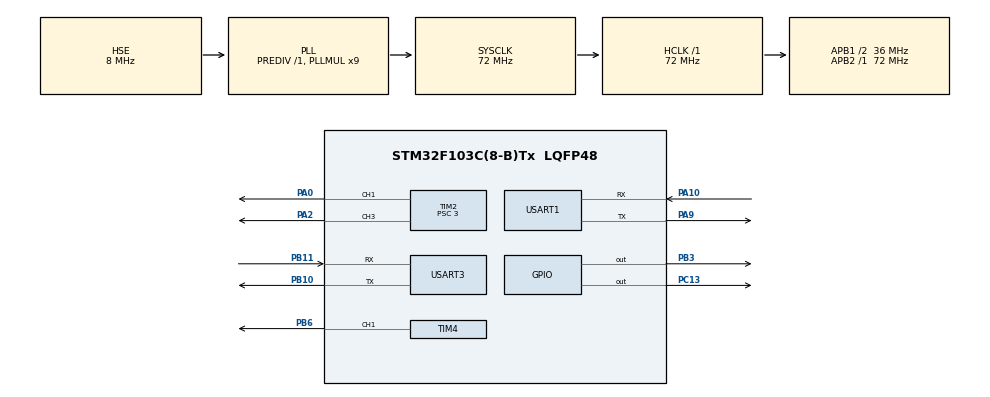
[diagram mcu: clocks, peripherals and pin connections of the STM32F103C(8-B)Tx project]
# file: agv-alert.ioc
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Dma.Request0=TIM4_CH1
Dma.TIM4_CH1.0.Direction=DMA_MEMORY_TO_PERIPH
Dma.TIM4_CH1.0.Instance=DMA1_Channel1
Dma.TIM4_CH1.0.MemDataAlignment=DMA_MDATAALIGN_HALFWORD
Dma.TIM4_CH1.0.MemInc=DMA_MINC_ENABLE
Dma.TIM4_CH1.0.Mode=DMA_NORMAL
Dma.TIM4_CH1.0.PeriphDataAlignment=DMA_PDATAALIGN_HALFWORD
Dma.TIM4_CH1.0.PeriphInc=DMA_PINC_DISABLE
Dma.TIM4_CH1.0.Priority=DMA_PRIORITY_LOW
Mcu.Family=STM32F1
Mcu.Name=STM32F103C(8-B)Tx
Mcu.Package=LQFP48
NVIC.DMA1_Channel1_IRQn=true\:0\:0\:false\:false\:true\:false\:true
NVIC.PriorityGroup=NVIC_PRIORITYGROUP_4
NVIC.USART1_IRQn=true\:0\:0\:false\:false\:true\:true\:true
PA0-WKUP.Signal=S_TIM2_CH1_ETR
PA10.Mode=Asynchronous
PA10.Signal=USART1_RX
PA13.Mode=Serial_Wire
PA13.Signal=SYS_JTMS-SWDIO
PA14.Mode=Serial_Wire
PA14.Signal=SYS_JTCK-SWCLK
PA2.Signal=S_TIM2_CH3
PA9.Mode=Asynchronous
PA9.Signal=USART1_TX
PB10.Mode=Asynchronous
PB10.Signal=USART3_TX
PB11.Mode=Asynchronous
PB11.Signal=USART3_RX
PB3.Signal=GPIO_Output
PB6.Signal=S_TIM4_CH1
PC13-TAMPER-RTC.Signal=GPIO_Output
PD0-OSC_IN.Mode=HSE-External-Oscillator
PD0-OSC_IN.Signal=RCC_OSC_IN
PD1-OSC_OUT.Mode=HSE-External-Oscillator
PD1-OSC_OUT.Signal=RCC_OSC_OUT
ProjectManager.HeapSize=0x200
ProjectManager.StackSize=0x400
ProjectManager.TargetToolchain=STM32CubeIDE
RCC.ADCPresc=RCC_ADCPCLK2_DIV6
RCC.AHBFreq_Value=72000000
RCC.APB1CLKDivider=RCC_HCLK_DIV2
RCC.APB1Freq_Value=36000000
RCC.APB1TimFreq_Value=72000000
RCC.APB2Freq_Value=72000000
RCC.APB2TimFreq_Value=72000000
RCC.HCLKFreq_Value=72000000
RCC.PLLMUL=RCC_PLL_MUL9
RCC.PLLSourceVirtual=RCC_PLLSOURCE_HSE
RCC.SYSCLKFreq_VALUE=72000000
RCC.SYSCLKSource=RCC_SYSCLKSOURCE_PLLCLK
RCC.USBFreq_Value=72000000
SH.S_TIM2_CH1_ETR.0=TIM2_CH1,PWM Generation1 CH1
SH.S_TIM2_CH3.0=TIM2_CH3,PWM Generation3 CH3
SH.S_TIM4_CH1.0=TIM4_CH1,PWM Generation1 CH1
TIM2.Channel-PWM\ Generation1\ CH1=TIM_CHANNEL_1
TIM2.Channel-PWM\ Generation3\ CH3=TIM_CHANNEL_3
TIM2.Period=900
TIM2.Prescaler=3
TIM4.Channel-PWM\ Generation1\ CH1=TIM_CHANNEL_1
TIM4.Period=72-1
USART1.VirtualMode=VM_ASYNC
USART3.VirtualMode=VM_ASYNC
VP_TIM2_VS_ClockSourceINT.Mode=Internal
VP_TIM4_VS_ClockSourceINT.Mode=Internal
board=custom

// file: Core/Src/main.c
/* USER CODE BEGIN Header */
/**
  ******************************************************************************
  * @file           : main.c
  * @brief          : Main program body
  ******************************************************************************
  * @attention
  *
  * Copyright (c) 2023 STMicroelectronics.
  * All rights reserved.
  *
  * This software is licensed under terms that can be found in the LICENSE file
  * in the root directory of this software component.
  * If no LICENSE file comes with this software, it is provided AS-IS.
  *
  ******************************************************************************
  */
/* USER CODE END Header */
#include "main.h"

/* USER CODE BEGIN Includes */
#include "ekran.h"
#include "math.h"
/* USER CODE END Includes */

TIM_HandleTypeDef htim2;
TIM_HandleTypeDef htim4;
DMA_HandleTypeDef hdma_tim4_ch1;

UART_HandleTypeDef huart1;
UART_HandleTypeDef huart3;

/* USER CODE BEGIN PV */
uint32_t adc0,adc1,adc2;

struct temperature{
	int8_t t1,t2,t3;
};

struct temperature temp;
struct agvStat{
	int16_t lift

};
uint8_t rxData[8] = { 0 };

/* USER CODE END PV */

void SystemClock_Config(void);
static void MX_GPIO_Init(void);
static void MX_USART1_UART_Init(void);
static void MX_DMA_Init(void);
static void MX_TIM4_Init(void);
static void MX_USART3_UART_Init(void);
static void MX_TIM2_Init(void);

/* USER CODE BEGIN 0 */
/*
uint32_t Termistor_oku(struct temperature *temp){

	  sconfigPrivate.Channel = ADC_CHANNEL_0;
	  sconfigPrivate.Rank = ADC_REGULAR_RANK_1;
	  sconfigPrivate.SamplingTime = ADC_SAMPLETIME_1CYCLE_5;
	  HAL_ADC_ConfigChannel(&hadc1, &sconfigPrivate);
	HAL_ADC_Start(&hadc1);
	HAL_ADC_PollForConversion(&hadc1, 10);
	adc0= HAL_ADC_GetValue(&hadc1);
	HAL_ADC_Stop(&hadc1);

	  sconfigPrivate.Channel = ADC_CHANNEL_1;
	  sconfigPrivate.Rank = ADC_REGULAR_RANK_1;
	  sconfigPrivate.SamplingTime = ADC_SAMPLETIME_1CYCLE_5;
	  HAL_ADC_ConfigChannel(&hadc1, &sconfigPrivate);
	HAL_ADC_Start(&hadc1);
	HAL_ADC_PollForConversion(&hadc1, 10);
	adc1= HAL_ADC_GetValue(&hadc1);
	HAL_ADC_Stop(&hadc1);

	  sconfigPrivate.Channel = ADC_CHANNEL_2;
	  sconfigPrivate.Rank = ADC_REGULAR_RANK_1;
	  sconfigPrivate.SamplingTime = ADC_SAMPLETIME_1CYCLE_5;
	  HAL_ADC_ConfigChannel(&hadc1, &sconfigPrivate);
	HAL_ADC_Start(&hadc1);
	HAL_ADC_PollForConversion(&hadc1, 10);
	adc2= HAL_ADC_GetValue(&hadc1);
	HAL_ADC_Stop(&hadc1);

	temp->t1 = (int16_t)(((((float)adc0 * 3.300)/4096.00) / 0.00385) -50) ;
	temp->t2 = (int16_t)(((((float)adc1 * 3.300)/4096.00) / 0.00385) -50) ;
	temp->t3 = (int16_t)(((((float)adc2 * 3.300)/4096.00) / 0.00385) -50) ;

}
*/
#define MAX_LED 120
#define USE_BRIGHTNESS 1

uint8_t LED_Data[MAX_LED][4];
uint8_t LED_Mod[MAX_LED][4];  // for brightness

int datasentflag=0;

void HAL_TIM_PWM_PulseFinishedCallback(TIM_HandleTypeDef *htim)
{
	HAL_TIM_PWM_Stop_DMA(&htim4, TIM_CHANNEL_1);
	datasentflag=1;
}

void Set_LED (int LEDnum, int Red, int Green, int Blue)
{
	LED_Data[LEDnum][0] = LEDnum;
	LED_Data[LEDnum][1] = Green;
	LED_Data[LEDnum][2] = Red;
	LED_Data[LEDnum][3] = Blue;
}

#define PI 3.14159265

void Set_Brightness (int brightness)  // 0-45
{
#if USE_BRIGHTNESS

	if (brightness > 45) brightness = 45;
	for (int i=0; i<MAX_LED; i++)
	{
		LED_Mod[i][0] = LED_Data[i][0];
		for (int j=1; j<4; j++)
		{
			float angle = 90-brightness;  // in degrees
			angle = angle*PI / 180;  // in rad
			LED_Mod[i][j] = (LED_Data[i][j])/(tan(angle));
		}
	}
#endif
}

uint16_t pwmData[(24*MAX_LED)+50];

void WS2812_Send (void)
{
	uint32_t indx=0;
	uint32_t color;

	for (int i= 0; i<MAX_LED; i++)
	{
#if USE_BRIGHTNESS
		color = ((LED_Mod[i][1]<<16) | (LED_Mod[i][2]<<8) | (LED_Mod[i][3]));
#else
		color = ((LED_Data[i][1]<<16) | (LED_Data[i][2]<<8) | (LED_Data[i][3]));
#endif

		for (int i=23; i>=0; i--)
		{
			if (color&(1<<i))
			{
				pwmData[indx] = 60;  // 2/3 of 90
			}

			else pwmData[indx] = 30;  // 1/3 of 90

			indx++;
		}

	}

	for (int i=0; i<50; i++)
	{
		pwmData[indx] = 0;
		indx++;
	}

	HAL_TIM_PWM_Start_DMA(&htim4, TIM_CHANNEL_1, (uint32_t *)pwmData, indx);
	while (!datasentflag){};
	datasentflag = 0;
}

uint16_t  effStep;

uint8_t Alarm_durum() {
    // Strip ID: 0 - Effect: Fade - LEDS: 60
    // Steps: 7.5 - Delay: 80
    // Colors: 2 (255.255.255, 255.0.0)
    // Options: duration=600, every=1,
 // if(millis() - effStart < 80 * (effStep)) return 0x00;
  uint8_t r,g,b;
  double e;
  e = (effStep * 80) / (double)600;
  r = ( e ) * 255 + 255 * ( 1.0 - e );
  g = ( e ) * 0 + 255 * ( 1.0 - e );
  b = ( e ) * 0 + 255 * ( 1.0 - e );
  for(int16_t j=0;j<60;j++) {
    if((j % 1) == 0){
      Set_LED(j, r, g, b);
    WS2812_Send();
    }
    else
    Set_LED(j, 0, 0, 0);
    WS2812_Send();
  }
  if(effStep >= 7.5) {effStep = 0; return 0x03; }
  else effStep++;
  return 0x01;
}

void liftUp(){
	htim2.Instance->CCR1 = 900;
	htim2.Instance->CCR3 = 0;

}
void liftDown(){
	htim2.Instance->CCR1 = 0;
	htim2.Instance->CCR3 = 900;

}

void HAL_UART_RxCpltCallback(UART_HandleTypeDef *huart){
	  HAL_UART_Receive_IT(&huart1, rxData, 8);
}

/* USER CODE END 0 */

int main(void)
{

  /* MCU Configuration--------------------------------------------------------*/

  /* Reset of all peripherals, Initializes the Flash interface and the Systick. */
  HAL_Init();

  /* Configure the system clock */
  SystemClock_Config();

  /* Initialize all configured peripherals */
  MX_GPIO_Init();
  MX_USART1_UART_Init();
  MX_DMA_Init();
  MX_TIM4_Init();
  MX_USART3_UART_Init();
  MX_TIM2_Init();
  /* USER CODE BEGIN 2 */
HAL_TIM_PWM_Start(&htim2, TIM_CHANNEL_1);
HAL_TIM_PWM_Start(&htim2, TIM_CHANNEL_3);
  struct ekran next;
  struct agvStat stat;
  stat.lift =0x00;
  HAL_UART_Receive_IT(&huart1, rxData, 8);

  /* USER CODE END 2 */

  /* Infinite loop */
  /* USER CODE BEGIN WHILE */

   while (1)
     {
	   for (int n=0; n<MAX_LED; n++)
	   {
		   if(n %2){
			 	  Set_LED(n, 0, 206, 209);

		   }else{
			 	 Set_LED(n, 0,206, 209);

		   }
	   }
		  Set_Brightness(45);
		  WS2812_Send();

		  if(rxData[0] == 0xFF){
			  liftUp();
		  }
		  else if(rxData[0] == 0xDD){
			  liftDown();
		  }

    /* USER CODE END WHILE */

     }
}

void SystemClock_Config(void)
{
  RCC_OscInitTypeDef RCC_OscInitStruct = {0};
  RCC_ClkInitTypeDef RCC_ClkInitStruct = {0};

  /** Initializes the RCC Oscillators according to the specified parameters
  * in the RCC_OscInitTypeDef structure.
  */
  RCC_OscInitStruct.OscillatorType = RCC_OSCILLATORTYPE_HSE;
  RCC_OscInitStruct.HSEState = RCC_HSE_ON;
  RCC_OscInitStruct.HSEPredivValue = RCC_HSE_PREDIV_DIV1;
  RCC_OscInitStruct.HSIState = RCC_HSI_ON;
  RCC_OscInitStruct.PLL.PLLState = RCC_PLL_ON;
  RCC_OscInitStruct.PLL.PLLSource = RCC_PLLSOURCE_HSE;
  RCC_OscInitStruct.PLL.PLLMUL = RCC_PLL_MUL9;
  if (HAL_RCC_OscConfig(&RCC_OscInitStruct) != HAL_OK)
  {
    Error_Handler();
  }
  /** Initializes the CPU, AHB and APB buses clocks
  */
  RCC_ClkInitStruct.ClockType = RCC_CLOCKTYPE_HCLK|RCC_CLOCKTYPE_SYSCLK
                              |RCC_CLOCKTYPE_PCLK1|RCC_CLOCKTYPE_PCLK2;
  RCC_ClkInitStruct.SYSCLKSource = RCC_SYSCLKSOURCE_PLLCLK;
  RCC_ClkInitStruct.AHBCLKDivider = RCC_SYSCLK_DIV1;
  RCC_ClkInitStruct.APB1CLKDivider = RCC_HCLK_DIV2;
  RCC_ClkInitStruct.APB2CLKDivider = RCC_HCLK_DIV1;

  if (HAL_RCC_ClockConfig(&RCC_ClkInitStruct, FLASH_LATENCY_2) != HAL_OK)
  {
    Error_Handler();
  }
}

static void MX_TIM2_Init(void)
{

  TIM_ClockConfigTypeDef sClockSourceConfig = {0};
  TIM_MasterConfigTypeDef sMasterConfig = {0};
  TIM_OC_InitTypeDef sConfigOC = {0};

  htim2.Instance = TIM2;
  htim2.Init.Prescaler = 3;
  htim2.Init.CounterMode = TIM_COUNTERMODE_UP;
  htim2.Init.Period = 900;
  htim2.Init.ClockDivision = TIM_CLOCKDIVISION_DIV1;
  htim2.Init.AutoReloadPreload = TIM_AUTORELOAD_PRELOAD_DISABLE;
  if (HAL_TIM_Base_Init(&htim2) != HAL_OK)
  {
    Error_Handler();
  }
  sClockSourceConfig.ClockSource = TIM_CLOCKSOURCE_INTERNAL;
  if (HAL_TIM_ConfigClockSource(&htim2, &sClockSourceConfig) != HAL_OK)
  {
    Error_Handler();
  }
  if (HAL_TIM_PWM_Init(&htim2) != HAL_OK)
  {
    Error_Handler();
  }
  sMasterConfig.MasterOutputTrigger = TIM_TRGO_RESET;
  sMasterConfig.MasterSlaveMode = TIM_MASTERSLAVEMODE_DISABLE;
  if (HAL_TIMEx_MasterConfigSynchronization(&htim2, &sMasterConfig) != HAL_OK)
  {
    Error_Handler();
  }
  sConfigOC.OCMode = TIM_OCMODE_PWM1;
  sConfigOC.Pulse = 0;
  sConfigOC.OCPolarity = TIM_OCPOLARITY_HIGH;
  sConfigOC.OCFastMode = TIM_OCFAST_DISABLE;
  if (HAL_TIM_PWM_ConfigChannel(&htim2, &sConfigOC, TIM_CHANNEL_1) != HAL_OK)
  {
    Error_Handler();
  }
  if (HAL_TIM_PWM_ConfigChannel(&htim2, &sConfigOC, TIM_CHANNEL_3) != HAL_OK)
  {
    Error_Handler();
  }
  HAL_TIM_MspPostInit(&htim2);

}

static void MX_TIM4_Init(void)
{

  TIM_ClockConfigTypeDef sClockSourceConfig = {0};
  TIM_MasterConfigTypeDef sMasterConfig = {0};
  TIM_OC_InitTypeDef sConfigOC = {0};

  htim4.Instance = TIM4;
  htim4.Init.Prescaler = 0;
  htim4.Init.CounterMode = TIM_COUNTERMODE_UP;
  htim4.Init.Period = 72-1;
  htim4.Init.ClockDivision = TIM_CLOCKDIVISION_DIV1;
  htim4.Init.AutoReloadPreload = TIM_AUTORELOAD_PRELOAD_DISABLE;
  if (HAL_TIM_Base_Init(&htim4) != HAL_OK)
  {
    Error_Handler();
  }
  sClockSourceConfig.ClockSource = TIM_CLOCKSOURCE_INTERNAL;
  if (HAL_TIM_ConfigClockSource(&htim4, &sClockSourceConfig) != HAL_OK)
  {
    Error_Handler();
  }
  if (HAL_TIM_PWM_Init(&htim4) != HAL_OK)
  {
    Error_Handler();
  }
  sMasterConfig.MasterOutputTrigger = TIM_TRGO_RESET;
  sMasterConfig.MasterSlaveMode = TIM_MASTERSLAVEMODE_DISABLE;
  if (HAL_TIMEx_MasterConfigSynchronization(&htim4, &sMasterConfig) != HAL_OK)
  {
    Error_Handler();
  }
  sConfigOC.OCMode = TIM_OCMODE_PWM1;
  sConfigOC.Pulse = 0;
  sConfigOC.OCPolarity = TIM_OCPOLARITY_HIGH;
  sConfigOC.OCFastMode = TIM_OCFAST_DISABLE;
  if (HAL_TIM_PWM_ConfigChannel(&htim4, &sConfigOC, TIM_CHANNEL_1) != HAL_OK)
  {
    Error_Handler();
  }
  HAL_TIM_MspPostInit(&htim4);

}

static void MX_USART1_UART_Init(void)
{

  huart1.Instance = USART1;
  huart1.Init.BaudRate = 115200;
  huart1.Init.WordLength = UART_WORDLENGTH_8B;
  huart1.Init.StopBits = UART_STOPBITS_1;
  huart1.Init.Parity = UART_PARITY_NONE;
  huart1.Init.Mode = UART_MODE_TX_RX;
  huart1.Init.HwFlowCtl = UART_HWCONTROL_NONE;
  huart1.Init.OverSampling = UART_OVERSAMPLING_16;
  if (HAL_UART_Init(&huart1) != HAL_OK)
  {
    Error_Handler();
  }

}

static void MX_USART3_UART_Init(void)
{

  huart3.Instance = USART3;
  huart3.Init.BaudRate = 115200;
  huart3.Init.WordLength = UART_WORDLENGTH_8B;
  huart3.Init.StopBits = UART_STOPBITS_1;
  huart3.Init.Parity = UART_PARITY_NONE;
  huart3.Init.Mode = UART_MODE_TX_RX;
  huart3.Init.HwFlowCtl = UART_HWCONTROL_NONE;
  huart3.Init.OverSampling = UART_OVERSAMPLING_16;
  if (HAL_UART_Init(&huart3) != HAL_OK)
  {
    Error_Handler();
  }

}

static void MX_DMA_Init(void)
{

  /* DMA controller clock enable */
  __HAL_RCC_DMA1_CLK_ENABLE();

  /* DMA interrupt init */
  /* DMA1_Channel1_IRQn interrupt configuration */
  HAL_NVIC_SetPriority(DMA1_Channel1_IRQn, 0, 0);
  HAL_NVIC_EnableIRQ(DMA1_Channel1_IRQn);

}

static void MX_GPIO_Init(void)
{
  GPIO_InitTypeDef GPIO_InitStruct = {0};

  /* GPIO Ports Clock Enable */
  __HAL_RCC_GPIOC_CLK_ENABLE();
  __HAL_RCC_GPIOD_CLK_ENABLE();
  __HAL_RCC_GPIOA_CLK_ENABLE();
  __HAL_RCC_GPIOB_CLK_ENABLE();

  /*Configure GPIO pin Output Level */
  HAL_GPIO_WritePin(GPIOC, GPIO_PIN_13, GPIO_PIN_RESET);

  /*Configure GPIO pin Output Level */
  HAL_GPIO_WritePin(GPIOB, GPIO_PIN_3, GPIO_PIN_RESET);

  /*Configure GPIO pin : PC13 */
  GPIO_InitStruct.Pin = GPIO_PIN_13;
  GPIO_InitStruct.Mode = GPIO_MODE_OUTPUT_PP;
  GPIO_InitStruct.Pull = GPIO_NOPULL;
  GPIO_InitStruct.Speed = GPIO_SPEED_FREQ_LOW;
  HAL_GPIO_Init(GPIOC, &GPIO_InitStruct);

  /*Configure GPIO pin : PB3 */
  GPIO_InitStruct.Pin = GPIO_PIN_3;
  GPIO_InitStruct.Mode = GPIO_MODE_OUTPUT_PP;
  GPIO_InitStruct.Pull = GPIO_NOPULL;
  GPIO_InitStruct.Speed = GPIO_SPEED_FREQ_LOW;
  HAL_GPIO_Init(GPIOB, &GPIO_InitStruct);

}

void Error_Handler(void)
{
  __disable_irq();
  while (1)
  {
  }
}
